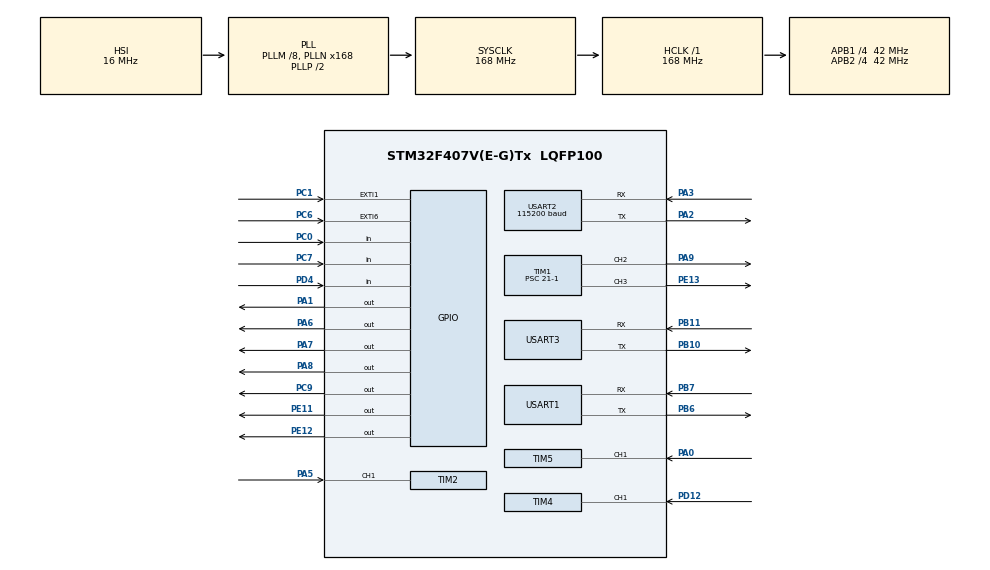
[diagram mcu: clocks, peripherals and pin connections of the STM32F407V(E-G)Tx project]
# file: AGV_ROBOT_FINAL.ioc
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Dma.Request0=USART2_RX
Dma.Request1=USART2_TX
Dma.USART2_RX.0.Direction=DMA_PERIPH_TO_MEMORY
Dma.USART2_RX.0.FIFOMode=DMA_FIFOMODE_DISABLE
Dma.USART2_RX.0.Instance=DMA1_Stream5
Dma.USART2_RX.0.MemDataAlignment=DMA_MDATAALIGN_BYTE
Dma.USART2_RX.0.MemInc=DMA_MINC_ENABLE
Dma.USART2_RX.0.Mode=DMA_CIRCULAR
Dma.USART2_RX.0.PeriphDataAlignment=DMA_PDATAALIGN_BYTE
Dma.USART2_RX.0.PeriphInc=DMA_PINC_DISABLE
Dma.USART2_RX.0.Priority=DMA_PRIORITY_LOW
Dma.USART2_TX.1.Direction=DMA_MEMORY_TO_PERIPH
Dma.USART2_TX.1.FIFOMode=DMA_FIFOMODE_DISABLE
Dma.USART2_TX.1.Instance=DMA1_Stream6
Dma.USART2_TX.1.MemDataAlignment=DMA_MDATAALIGN_BYTE
Dma.USART2_TX.1.MemInc=DMA_MINC_ENABLE
Dma.USART2_TX.1.Mode=DMA_NORMAL
Dma.USART2_TX.1.PeriphDataAlignment=DMA_PDATAALIGN_BYTE
Dma.USART2_TX.1.PeriphInc=DMA_PINC_DISABLE
Dma.USART2_TX.1.Priority=DMA_PRIORITY_LOW
Mcu.Family=STM32F4
Mcu.Name=STM32F407V(E-G)Tx
Mcu.Package=LQFP100
NVIC.DMA1_Stream5_IRQn=true\:0\:0\:false\:false\:true\:false\:true
NVIC.DMA1_Stream6_IRQn=true\:0\:0\:false\:false\:true\:false\:true
NVIC.EXTI1_IRQn=true\:0\:0\:false\:false\:true\:true\:true
NVIC.EXTI9_5_IRQn=true\:1\:0\:true\:false\:true\:true\:true
NVIC.PriorityGroup=NVIC_PRIORITYGROUP_4
NVIC.TIM1_BRK_TIM9_IRQn=true\:0\:0\:false\:false\:true\:true\:true
NVIC.TIM2_IRQn=true\:0\:0\:true\:false\:true\:true\:true
NVIC.TIM3_IRQn=true\:0\:0\:false\:false\:true\:true\:true
NVIC.TIM4_IRQn=true\:0\:0\:false\:false\:true\:true\:true
NVIC.TIM5_IRQn=true\:0\:0\:true\:false\:true\:true\:true
NVIC.USART1_IRQn=true\:0\:0\:false\:false\:true\:true\:true
NVIC.USART2_IRQn=true\:0\:0\:false\:false\:true\:true\:true
NVIC.USART3_IRQn=true\:0\:0\:false\:false\:true\:true\:true
PA0-WKUP.Signal=S_TIM5_CH1
PA1.Signal=GPIO_Output
PA13.Mode=Serial_Wire
PA13.Signal=SYS_JTMS-SWDIO
PA14.Mode=Serial_Wire
PA14.Signal=SYS_JTCK-SWCLK
PA2.Mode=Asynchronous
PA2.Signal=USART2_TX
PA3.Mode=Asynchronous
PA3.Signal=USART2_RX
PA5.Signal=S_TIM2_CH1_ETR
PA6.Signal=GPIO_Output
PA7.Signal=GPIO_Output
PA8.Signal=GPIO_Output
PA9.Signal=S_TIM1_CH2
PB10.Mode=Asynchronous
PB10.Signal=USART3_TX
PB11.Mode=Asynchronous
PB11.Signal=USART3_RX
PB6.Mode=Asynchronous
PB6.Signal=USART1_TX
PB7.Mode=Asynchronous
PB7.Signal=USART1_RX
PC0.GPIO_PuPd=GPIO_PULLUP
PC0.Signal=GPIO_Input
PC1.GPIO_ModeDefaultEXTI=GPIO_MODE_IT_FALLING
PC1.GPIO_PuPd=GPIO_PULLUP
PC1.Signal=GPXTI1
PC6.GPIO_ModeDefaultEXTI=GPIO_MODE_IT_FALLING
PC6.GPIO_PuPd=GPIO_PULLUP
PC6.Signal=GPXTI6
PC7.GPIO_PuPd=GPIO_PULLUP
PC7.Signal=GPIO_Input
PC9.Signal=GPIO_Output
PD12.Signal=S_TIM4_CH1
PD4.GPIO_PuPd=GPIO_PULLUP
PD4.Signal=GPIO_Input
PE11.Signal=GPIO_Output
PE12.Signal=GPIO_Output
PE13.Signal=S_TIM1_CH3
ProjectManager.HeapSize=0x200
ProjectManager.StackSize=0x400
ProjectManager.TargetToolchain=STM32CubeIDE
RCC.48MHZClocksFreq_Value=84000000
RCC.AHBFreq_Value=168000000
RCC.APB1CLKDivider=RCC_HCLK_DIV4
RCC.APB1Freq_Value=42000000
RCC.APB1TimFreq_Value=84000000
RCC.APB2CLKDivider=RCC_HCLK_DIV4
RCC.APB2Freq_Value=42000000
RCC.APB2TimFreq_Value=84000000
RCC.CortexFreq_Value=168000000
RCC.HCLKFreq_Value=168000000
RCC.HSE_VALUE=25000000
RCC.HSI_VALUE=16000000
RCC.LSE_VALUE=32768
RCC.PLLM=8
RCC.PLLN=168
RCC.SYSCLKFreq_VALUE=168000000
RCC.SYSCLKSource=RCC_SYSCLKSOURCE_PLLCLK
RCC.VCOOutputFreq_Value=336000000
SH.S_TIM1_CH2.0=TIM1_CH2,PWM Generation2 CH2
SH.S_TIM1_CH3.0=TIM1_CH3,PWM Generation3 CH3
SH.S_TIM2_CH1_ETR.0=TIM2_CH1,Input_Capture1_from_TI1
SH.S_TIM4_CH1.0=TIM4_CH1,Input_Capture1_from_TI1
SH.S_TIM5_CH1.0=TIM5_CH1,Input_Capture1_from_TI1
TIM1.Channel-PWM\ Generation2\ CH2=TIM_CHANNEL_2
TIM1.Channel-PWM\ Generation3\ CH3=TIM_CHANNEL_3
TIM1.Period=400-1
TIM1.Prescaler=21-1
TIM2.Channel-Input_Capture1_from_TI1=TIM_CHANNEL_1
TIM2.ICPolarity_CH1=TIM_INPUTCHANNELPOLARITY_FALLING
TIM2.Period=4294967295
TIM2.Prescaler=84-1
TIM3.Period=50000-1
TIM3.Prescaler=8400-1
TIM4.Channel-Input_Capture1_from_TI1=TIM_CHANNEL_1
TIM4.ICPolarity_CH1=TIM_INPUTCHANNELPOLARITY_BOTHEDGE
TIM4.Prescaler=84-1
TIM5.Channel-Input_Capture1_from_TI1=TIM_CHANNEL_1
TIM5.ICPolarity_CH1=TIM_INPUTCHANNELPOLARITY_FALLING
TIM5.Prescaler=84-1
TIM6.Prescaler=84-1
TIM9.Period=100-1
TIM9.Prescaler=8400-1
USART1.VirtualMode=VM_ASYNC
USART2.BaudRate=115200
USART2.VirtualMode=VM_ASYNC
USART3.VirtualMode=VM_ASYNC
VP_TIM1_VS_ClockSourceINT.Mode=Internal
VP_TIM2_VS_ClockSourceINT.Mode=Internal
VP_TIM3_VS_ClockSourceINT.Mode=Internal
VP_TIM4_VS_ClockSourceINT.Mode=Internal
VP_TIM5_VS_ClockSourceINT.Mode=Internal
VP_TIM6_VS_ClockSourceINT.Mode=Enable_Timer
VP_TIM9_VS_ClockSourceINT.Mode=Internal
board=custom

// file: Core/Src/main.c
/* USER CODE BEGIN Header */
/**
  ******************************************************************************
  * @file           : main.c
  * @brief          : Main program body
  ******************************************************************************
  * @attention
  *
  * <h2><center>&copy; Copyright (c) 2021 STMicroelectronics.
  * All rights reserved.</center></h2>
  *
  * This software component is licensed by ST under BSD 3-Clause license,
  * the "License"; You may not use this file except in compliance with the
  * License. You may obtain a copy of the License at:
  *                        opensource.org/licenses/BSD-3-Clause
  *
  ******************************************************************************
  */
/* USER CODE END Header */
#include "main.h"

/* USER CODE BEGIN Includes */
#include "mainpp.h"
#include <stdlib.h>
#include <string.h>
#include <stdio.h>
#include "ir.h"

//#define __PID_TURNING__
/* USER CODE END Includes */

TIM_HandleTypeDef htim1;
TIM_HandleTypeDef htim2;
TIM_HandleTypeDef htim3;
TIM_HandleTypeDef htim4;
TIM_HandleTypeDef htim5;
TIM_HandleTypeDef htim6;
TIM_HandleTypeDef htim9;

UART_HandleTypeDef huart1;
UART_HandleTypeDef huart2;
UART_HandleTypeDef huart3;
DMA_HandleTypeDef hdma_usart2_rx;
DMA_HandleTypeDef hdma_usart2_tx;

void SystemClock_Config(void);
static void MX_GPIO_Init(void);
static void MX_DMA_Init(void);
static void MX_USART2_UART_Init(void);
static void MX_TIM1_Init(void);
static void MX_TIM9_Init(void);
static void MX_USART3_UART_Init(void);
static void MX_TIM3_Init(void);
static void MX_TIM4_Init(void);
static void MX_USART1_UART_Init(void);
static void MX_TIM2_Init(void);
static void MX_TIM5_Init(void);
static void MX_TIM6_Init(void);
/* USER CODE BEGIN PFP */
#ifdef __GNUC__

#define PUTCHAR_PROTOTYPE int __io_putchar(int ch)

PUTCHAR_PROTOTYPE
{
    HAL_UART_Transmit(&huart3 ,(uint8_t*)&ch, 1, HAL_MAX_DELAY);
    return ch;
}
#endif
/* USER CODE END PFP */

/* USER CODE BEGIN 0 */
int chuyenChartoInt(char c)
{
		return (int)c-48;
}

void DC1_thuan(int speed)
{
	__HAL_TIM_SET_COMPARE(&htim1,TIM_CHANNEL_2,speed);
	HAL_GPIO_WritePin(GPIOA,GPIO_PIN_6,GPIO_PIN_SET);
	HAL_GPIO_WritePin(GPIOC,GPIO_PIN_9,GPIO_PIN_RESET);
}

void DC1_nghich(int speed)
{
	__HAL_TIM_SET_COMPARE(&htim1,TIM_CHANNEL_2,speed);
	HAL_GPIO_WritePin(GPIOA,GPIO_PIN_6,GPIO_PIN_RESET);
	HAL_GPIO_WritePin(GPIOC,GPIO_PIN_9,GPIO_PIN_SET);
}

void DC2_nghich(int speed)
{
	__HAL_TIM_SET_COMPARE(&htim1,TIM_CHANNEL_3,speed);
	HAL_GPIO_WritePin(GPIOE,GPIO_PIN_11,GPIO_PIN_SET);
	HAL_GPIO_WritePin(GPIOE,GPIO_PIN_12,GPIO_PIN_RESET);
}
void DC2_thuan(int speed)
{
	__HAL_TIM_SET_COMPARE(&htim1,TIM_CHANNEL_3,speed);
	HAL_GPIO_WritePin(GPIOE,GPIO_PIN_11,GPIO_PIN_RESET);
	HAL_GPIO_WritePin(GPIOE,GPIO_PIN_12,GPIO_PIN_SET);
}

void lui()
{
	DC1_nghich(PWM1);
	DC2_nghich(PWM2);
}

void tien()
{
	DC1_thuan(PWM1);
	DC2_thuan(PWM2);
}

void Xoay_Trai(void)
{
	DC1_thuan(PWM1);
	DC2_nghich(PWM2);
}

void Xoay_Phai(void)
{
	DC1_nghich(PWM1);
	DC2_thuan(PWM2);
}

void dung()
{
	PWM1 = 0;
	PWM2 = 0;
	HAL_GPIO_WritePin(GPIOE,GPIO_PIN_11,GPIO_PIN_SET);
	HAL_GPIO_WritePin(GPIOE,GPIO_PIN_12,GPIO_PIN_SET);

	HAL_GPIO_WritePin(GPIOA,GPIO_PIN_6,GPIO_PIN_SET);
	HAL_GPIO_WritePin(GPIOC,GPIO_PIN_9,GPIO_PIN_SET);
}

/* USER CODE END 0 */

int main(void)
{

  /* MCU Configuration--------------------------------------------------------*/

  /* Reset of all peripherals, Initializes the Flash interface and the Systick. */
  HAL_Init();

  /* Configure the system clock */
  SystemClock_Config();

  /* Initialize all configured peripherals */
  MX_GPIO_Init();
  MX_DMA_Init();
  MX_USART2_UART_Init();
  MX_TIM1_Init();
  MX_TIM9_Init();
  MX_USART3_UART_Init();
  MX_TIM3_Init();
  MX_TIM4_Init();
  MX_USART1_UART_Init();
  MX_TIM2_Init();
  MX_TIM5_Init();
  MX_TIM6_Init();
  /* USER CODE BEGIN 2 */

  	//pwm dieu khien dong co
	HAL_TIM_PWM_Start(&htim1,TIM_CHANNEL_2);
	HAL_TIM_PWM_Start(&htim1,TIM_CHANNEL_3);
	//ngat tinh toan pid
	HAL_TIM_Base_Start_IT(&htim9);
	//doc tin hieu ir
	HAL_TIM_IC_Start_IT(&htim2, TIM_CHANNEL_1);
	HAL_TIM_IC_Start_IT(&htim5, TIM_CHANNEL_1);
	//tao delay us
	HAL_TIM_Base_Start(&htim6);
	//reset ir data
	HAL_TIM_Base_Start_IT(&htim3);
	setup();

  /* USER CODE END 2 */

  /* Infinite loop */
  /* USER CODE BEGIN WHILE */
  while (1)
  {
	  check_ir_signal();
	  loop();
    /* USER CODE END WHILE */

  }
}

void SystemClock_Config(void)
{
  RCC_OscInitTypeDef RCC_OscInitStruct = {0};
  RCC_ClkInitTypeDef RCC_ClkInitStruct = {0};

  /** Configure the main internal regulator output voltage
  */
  __HAL_RCC_PWR_CLK_ENABLE();
  __HAL_PWR_VOLTAGESCALING_CONFIG(PWR_REGULATOR_VOLTAGE_SCALE1);
  /** Initializes the RCC Oscillators according to the specified parameters
  * in the RCC_OscInitTypeDef structure.
  */
  RCC_OscInitStruct.OscillatorType = RCC_OSCILLATORTYPE_HSI;
  RCC_OscInitStruct.HSIState = RCC_HSI_ON;
  RCC_OscInitStruct.HSICalibrationValue = RCC_HSICALIBRATION_DEFAULT;
  RCC_OscInitStruct.PLL.PLLState = RCC_PLL_ON;
  RCC_OscInitStruct.PLL.PLLSource = RCC_PLLSOURCE_HSI;
  RCC_OscInitStruct.PLL.PLLM = 8;
  RCC_OscInitStruct.PLL.PLLN = 168;
  RCC_OscInitStruct.PLL.PLLP = RCC_PLLP_DIV2;
  RCC_OscInitStruct.PLL.PLLQ = 4;
  if (HAL_RCC_OscConfig(&RCC_OscInitStruct) != HAL_OK)
  {
    Error_Handler();
  }
  /** Initializes the CPU, AHB and APB buses clocks
  */
  RCC_ClkInitStruct.ClockType = RCC_CLOCKTYPE_HCLK|RCC_CLOCKTYPE_SYSCLK
                              |RCC_CLOCKTYPE_PCLK1|RCC_CLOCKTYPE_PCLK2;
  RCC_ClkInitStruct.SYSCLKSource = RCC_SYSCLKSOURCE_PLLCLK;
  RCC_ClkInitStruct.AHBCLKDivider = RCC_SYSCLK_DIV1;
  RCC_ClkInitStruct.APB1CLKDivider = RCC_HCLK_DIV4;
  RCC_ClkInitStruct.APB2CLKDivider = RCC_HCLK_DIV4;

  if (HAL_RCC_ClockConfig(&RCC_ClkInitStruct, FLASH_LATENCY_5) != HAL_OK)
  {
    Error_Handler();
  }
}

static void MX_TIM1_Init(void)
{

  TIM_ClockConfigTypeDef sClockSourceConfig = {0};
  TIM_MasterConfigTypeDef sMasterConfig = {0};
  TIM_OC_InitTypeDef sConfigOC = {0};
  TIM_BreakDeadTimeConfigTypeDef sBreakDeadTimeConfig = {0};

  htim1.Instance = TIM1;
  htim1.Init.Prescaler = 21-1;
  htim1.Init.CounterMode = TIM_COUNTERMODE_UP;
  htim1.Init.Period = 400-1;
  htim1.Init.ClockDivision = TIM_CLOCKDIVISION_DIV1;
  htim1.Init.RepetitionCounter = 0;
  htim1.Init.AutoReloadPreload = TIM_AUTORELOAD_PRELOAD_DISABLE;
  if (HAL_TIM_Base_Init(&htim1) != HAL_OK)
  {
    Error_Handler();
  }
  sClockSourceConfig.ClockSource = TIM_CLOCKSOURCE_INTERNAL;
  if (HAL_TIM_ConfigClockSource(&htim1, &sClockSourceConfig) != HAL_OK)
  {
    Error_Handler();
  }
  if (HAL_TIM_PWM_Init(&htim1) != HAL_OK)
  {
    Error_Handler();
  }
  sMasterConfig.MasterOutputTrigger = TIM_TRGO_RESET;
  sMasterConfig.MasterSlaveMode = TIM_MASTERSLAVEMODE_DISABLE;
  if (HAL_TIMEx_MasterConfigSynchronization(&htim1, &sMasterConfig) != HAL_OK)
  {
    Error_Handler();
  }
  sConfigOC.OCMode = TIM_OCMODE_PWM1;
  sConfigOC.Pulse = 0;
  sConfigOC.OCPolarity = TIM_OCPOLARITY_HIGH;
  sConfigOC.OCNPolarity = TIM_OCNPOLARITY_HIGH;
  sConfigOC.OCFastMode = TIM_OCFAST_DISABLE;
  sConfigOC.OCIdleState = TIM_OCIDLESTATE_RESET;
  sConfigOC.OCNIdleState = TIM_OCNIDLESTATE_RESET;
  if (HAL_TIM_PWM_ConfigChannel(&htim1, &sConfigOC, TIM_CHANNEL_2) != HAL_OK)
  {
    Error_Handler();
  }
  if (HAL_TIM_PWM_ConfigChannel(&htim1, &sConfigOC, TIM_CHANNEL_3) != HAL_OK)
  {
    Error_Handler();
  }
  sBreakDeadTimeConfig.OffStateRunMode = TIM_OSSR_DISABLE;
  sBreakDeadTimeConfig.OffStateIDLEMode = TIM_OSSI_DISABLE;
  sBreakDeadTimeConfig.LockLevel = TIM_LOCKLEVEL_OFF;
  sBreakDeadTimeConfig.DeadTime = 0;
  sBreakDeadTimeConfig.BreakState = TIM_BREAK_DISABLE;
  sBreakDeadTimeConfig.BreakPolarity = TIM_BREAKPOLARITY_HIGH;
  sBreakDeadTimeConfig.AutomaticOutput = TIM_AUTOMATICOUTPUT_DISABLE;
  if (HAL_TIMEx_ConfigBreakDeadTime(&htim1, &sBreakDeadTimeConfig) != HAL_OK)
  {
    Error_Handler();
  }
  HAL_TIM_MspPostInit(&htim1);

}

static void MX_TIM2_Init(void)
{

  TIM_ClockConfigTypeDef sClockSourceConfig = {0};
  TIM_MasterConfigTypeDef sMasterConfig = {0};
  TIM_IC_InitTypeDef sConfigIC = {0};

  htim2.Instance = TIM2;
  htim2.Init.Prescaler = 84-1;
  htim2.Init.CounterMode = TIM_COUNTERMODE_UP;
  htim2.Init.Period = 4294967295;
  htim2.Init.ClockDivision = TIM_CLOCKDIVISION_DIV1;
  htim2.Init.AutoReloadPreload = TIM_AUTORELOAD_PRELOAD_DISABLE;
  if (HAL_TIM_Base_Init(&htim2) != HAL_OK)
  {
    Error_Handler();
  }
  sClockSourceConfig.ClockSource = TIM_CLOCKSOURCE_INTERNAL;
  if (HAL_TIM_ConfigClockSource(&htim2, &sClockSourceConfig) != HAL_OK)
  {
    Error_Handler();
  }
  if (HAL_TIM_IC_Init(&htim2) != HAL_OK)
  {
    Error_Handler();
  }
  sMasterConfig.MasterOutputTrigger = TIM_TRGO_RESET;
  sMasterConfig.MasterSlaveMode = TIM_MASTERSLAVEMODE_DISABLE;
  if (HAL_TIMEx_MasterConfigSynchronization(&htim2, &sMasterConfig) != HAL_OK)
  {
    Error_Handler();
  }
  sConfigIC.ICPolarity = TIM_INPUTCHANNELPOLARITY_FALLING;
  sConfigIC.ICSelection = TIM_ICSELECTION_DIRECTTI;
  sConfigIC.ICPrescaler = TIM_ICPSC_DIV1;
  sConfigIC.ICFilter = 0;
  if (HAL_TIM_IC_ConfigChannel(&htim2, &sConfigIC, TIM_CHANNEL_1) != HAL_OK)
  {
    Error_Handler();
  }

}

static void MX_TIM3_Init(void)
{

  TIM_ClockConfigTypeDef sClockSourceConfig = {0};
  TIM_MasterConfigTypeDef sMasterConfig = {0};

  htim3.Instance = TIM3;
  htim3.Init.Prescaler = 8400-1;
  htim3.Init.CounterMode = TIM_COUNTERMODE_UP;
  htim3.Init.Period = 30000-1;
  htim3.Init.ClockDivision = TIM_CLOCKDIVISION_DIV1;
  htim3.Init.AutoReloadPreload = TIM_AUTORELOAD_PRELOAD_DISABLE;
  if (HAL_TIM_Base_Init(&htim3) != HAL_OK)
  {
    Error_Handler();
  }
  sClockSourceConfig.ClockSource = TIM_CLOCKSOURCE_INTERNAL;
  if (HAL_TIM_ConfigClockSource(&htim3, &sClockSourceConfig) != HAL_OK)
  {
    Error_Handler();
  }
  sMasterConfig.MasterOutputTrigger = TIM_TRGO_RESET;
  sMasterConfig.MasterSlaveMode = TIM_MASTERSLAVEMODE_DISABLE;
  if (HAL_TIMEx_MasterConfigSynchronization(&htim3, &sMasterConfig) != HAL_OK)
  {
    Error_Handler();
  }

}

static void MX_TIM4_Init(void)
{

  TIM_ClockConfigTypeDef sClockSourceConfig = {0};
  TIM_MasterConfigTypeDef sMasterConfig = {0};
  TIM_IC_InitTypeDef sConfigIC = {0};

  htim4.Instance = TIM4;
  htim4.Init.Prescaler = 84-1;
  htim4.Init.CounterMode = TIM_COUNTERMODE_UP;
  htim4.Init.Period = 65535;
  htim4.Init.ClockDivision = TIM_CLOCKDIVISION_DIV1;
  htim4.Init.AutoReloadPreload = TIM_AUTORELOAD_PRELOAD_DISABLE;
  if (HAL_TIM_Base_Init(&htim4) != HAL_OK)
  {
    Error_Handler();
  }
  sClockSourceConfig.ClockSource = TIM_CLOCKSOURCE_INTERNAL;
  if (HAL_TIM_ConfigClockSource(&htim4, &sClockSourceConfig) != HAL_OK)
  {
    Error_Handler();
  }
  if (HAL_TIM_IC_Init(&htim4) != HAL_OK)
  {
    Error_Handler();
  }
  sMasterConfig.MasterOutputTrigger = TIM_TRGO_RESET;
  sMasterConfig.MasterSlaveMode = TIM_MASTERSLAVEMODE_DISABLE;
  if (HAL_TIMEx_MasterConfigSynchronization(&htim4, &sMasterConfig) != HAL_OK)
  {
    Error_Handler();
  }
  sConfigIC.ICPolarity = TIM_INPUTCHANNELPOLARITY_BOTHEDGE;
  sConfigIC.ICSelection = TIM_ICSELECTION_DIRECTTI;
  sConfigIC.ICPrescaler = TIM_ICPSC_DIV1;
  sConfigIC.ICFilter = 0;
  if (HAL_TIM_IC_ConfigChannel(&htim4, &sConfigIC, TIM_CHANNEL_1) != HAL_OK)
  {
    Error_Handler();
  }

}

static void MX_TIM5_Init(void)
{

  TIM_ClockConfigTypeDef sClockSourceConfig = {0};
  TIM_MasterConfigTypeDef sMasterConfig = {0};
  TIM_IC_InitTypeDef sConfigIC = {0};

  htim5.Instance = TIM5;
  htim5.Init.Prescaler = 84-1;
  htim5.Init.CounterMode = TIM_COUNTERMODE_UP;
  htim5.Init.Period = 4294967295;
  htim5.Init.ClockDivision = TIM_CLOCKDIVISION_DIV1;
  htim5.Init.AutoReloadPreload = TIM_AUTORELOAD_PRELOAD_DISABLE;
  if (HAL_TIM_Base_Init(&htim5) != HAL_OK)
  {
    Error_Handler();
  }
  sClockSourceConfig.ClockSource = TIM_CLOCKSOURCE_INTERNAL;
  if (HAL_TIM_ConfigClockSource(&htim5, &sClockSourceConfig) != HAL_OK)
  {
    Error_Handler();
  }
  if (HAL_TIM_IC_Init(&htim5) != HAL_OK)
  {
    Error_Handler();
  }
  sMasterConfig.MasterOutputTrigger = TIM_TRGO_RESET;
  sMasterConfig.MasterSlaveMode = TIM_MASTERSLAVEMODE_DISABLE;
  if (HAL_TIMEx_MasterConfigSynchronization(&htim5, &sMasterConfig) != HAL_OK)
  {
    Error_Handler();
  }
  sConfigIC.ICPolarity = TIM_INPUTCHANNELPOLARITY_FALLING;
  sConfigIC.ICSelection = TIM_ICSELECTION_DIRECTTI;
  sConfigIC.ICPrescaler = TIM_ICPSC_DIV1;
  sConfigIC.ICFilter = 0;
  if (HAL_TIM_IC_ConfigChannel(&htim5, &sConfigIC, TIM_CHANNEL_1) != HAL_OK)
  {
    Error_Handler();
  }

}

static void MX_TIM6_Init(void)
{

  TIM_MasterConfigTypeDef sMasterConfig = {0};

  htim6.Instance = TIM6;
  htim6.Init.Prescaler = 84-1;
  htim6.Init.CounterMode = TIM_COUNTERMODE_UP;
  htim6.Init.Period = 65535;
  htim6.Init.AutoReloadPreload = TIM_AUTORELOAD_PRELOAD_DISABLE;
  if (HAL_TIM_Base_Init(&htim6) != HAL_OK)
  {
    Error_Handler();
  }
  sMasterConfig.MasterOutputTrigger = TIM_TRGO_RESET;
  sMasterConfig.MasterSlaveMode = TIM_MASTERSLAVEMODE_DISABLE;
  if (HAL_TIMEx_MasterConfigSynchronization(&htim6, &sMasterConfig) != HAL_OK)
  {
    Error_Handler();
  }

}

static void MX_TIM9_Init(void)
{

  TIM_ClockConfigTypeDef sClockSourceConfig = {0};

  htim9.Instance = TIM9;
  htim9.Init.Prescaler = 8400-1;
  htim9.Init.CounterMode = TIM_COUNTERMODE_UP;
  htim9.Init.Period = 100-1;
  htim9.Init.ClockDivision = TIM_CLOCKDIVISION_DIV1;
  htim9.Init.AutoReloadPreload = TIM_AUTORELOAD_PRELOAD_DISABLE;
  if (HAL_TIM_Base_Init(&htim9) != HAL_OK)
  {
    Error_Handler();
  }
  sClockSourceConfig.ClockSource = TIM_CLOCKSOURCE_INTERNAL;
  if (HAL_TIM_ConfigClockSource(&htim9, &sClockSourceConfig) != HAL_OK)
  {
    Error_Handler();
  }

}

static void MX_USART1_UART_Init(void)
{

  huart1.Instance = USART1;
  huart1.Init.BaudRate = 115200;
  huart1.Init.WordLength = UART_WORDLENGTH_8B;
  huart1.Init.StopBits = UART_STOPBITS_1;
  huart1.Init.Parity = UART_PARITY_NONE;
  huart1.Init.Mode = UART_MODE_TX_RX;
  huart1.Init.HwFlowCtl = UART_HWCONTROL_NONE;
  huart1.Init.OverSampling = UART_OVERSAMPLING_16;
  if (HAL_UART_Init(&huart1) != HAL_OK)
  {
    Error_Handler();
  }

}

static void MX_USART2_UART_Init(void)
{

  huart2.Instance = USART2;
  huart2.Init.BaudRate = 115200;
  huart2.Init.WordLength = UART_WORDLENGTH_8B;
  huart2.Init.StopBits = UART_STOPBITS_1;
  huart2.Init.Parity = UART_PARITY_NONE;
  huart2.Init.Mode = UART_MODE_TX_RX;
  huart2.Init.HwFlowCtl = UART_HWCONTROL_NONE;
  huart2.Init.OverSampling = UART_OVERSAMPLING_16;
  if (HAL_UART_Init(&huart2) != HAL_OK)
  {
    Error_Handler();
  }

}

static void MX_USART3_UART_Init(void)
{

  huart3.Instance = USART3;
  huart3.Init.BaudRate = 115200;
  huart3.Init.WordLength = UART_WORDLENGTH_8B;
  huart3.Init.StopBits = UART_STOPBITS_1;
  huart3.Init.Parity = UART_PARITY_NONE;
  huart3.Init.Mode = UART_MODE_TX_RX;
  huart3.Init.HwFlowCtl = UART_HWCONTROL_NONE;
  huart3.Init.OverSampling = UART_OVERSAMPLING_16;
  if (HAL_UART_Init(&huart3) != HAL_OK)
  {
    Error_Handler();
  }

}

static void MX_DMA_Init(void)
{

  /* DMA controller clock enable */
  __HAL_RCC_DMA1_CLK_ENABLE();

  /* DMA interrupt init */
  /* DMA1_Stream5_IRQn interrupt configuration */
  HAL_NVIC_SetPriority(DMA1_Stream5_IRQn, 0, 0);
  HAL_NVIC_EnableIRQ(DMA1_Stream5_IRQn);
  /* DMA1_Stream6_IRQn interrupt configuration */
  HAL_NVIC_SetPriority(DMA1_Stream6_IRQn, 0, 0);
  HAL_NVIC_EnableIRQ(DMA1_Stream6_IRQn);

}

static void MX_GPIO_Init(void)
{
  GPIO_InitTypeDef GPIO_InitStruct = {0};

  /* GPIO Ports Clock Enable */
  __HAL_RCC_GPIOC_CLK_ENABLE();
  __HAL_RCC_GPIOA_CLK_ENABLE();
  __HAL_RCC_GPIOE_CLK_ENABLE();
  __HAL_RCC_GPIOB_CLK_ENABLE();
  __HAL_RCC_GPIOD_CLK_ENABLE();

  /*Configure GPIO pin Output Level */
  HAL_GPIO_WritePin(GPIOA, GPIO_PIN_1|GPIO_PIN_6|GPIO_PIN_7|GPIO_PIN_8, GPIO_PIN_RESET);

  /*Configure GPIO pin Output Level */
  HAL_GPIO_WritePin(GPIOE, GPIO_PIN_11|GPIO_PIN_12, GPIO_PIN_RESET);

  /*Configure GPIO pin Output Level */
  HAL_GPIO_WritePin(GPIOC, GPIO_PIN_9, GPIO_PIN_RESET);

  /*Configure GPIO pins : PC0 PC7 */
  GPIO_InitStruct.Pin = GPIO_PIN_0|GPIO_PIN_7;
  GPIO_InitStruct.Mode = GPIO_MODE_INPUT;
  GPIO_InitStruct.Pull = GPIO_PULLUP;
  HAL_GPIO_Init(GPIOC, &GPIO_InitStruct);

  /*Configure GPIO pins : PC1 PC6 */
  GPIO_InitStruct.Pin = GPIO_PIN_1|GPIO_PIN_6;
  GPIO_InitStruct.Mode = GPIO_MODE_IT_FALLING;
  GPIO_InitStruct.Pull = GPIO_PULLUP;
  HAL_GPIO_Init(GPIOC, &GPIO_InitStruct);

  /*Configure GPIO pins : PA1 PA6 PA7 PA8 */
  GPIO_InitStruct.Pin = GPIO_PIN_1|GPIO_PIN_6|GPIO_PIN_7|GPIO_PIN_8;
  GPIO_InitStruct.Mode = GPIO_MODE_OUTPUT_PP;
  GPIO_InitStruct.Pull = GPIO_NOPULL;
  GPIO_InitStruct.Speed = GPIO_SPEED_FREQ_LOW;
  HAL_GPIO_Init(GPIOA, &GPIO_InitStruct);

  /*Configure GPIO pins : PE11 PE12 */
  GPIO_InitStruct.Pin = GPIO_PIN_11|GPIO_PIN_12;
  GPIO_InitStruct.Mode = GPIO_MODE_OUTPUT_PP;
  GPIO_InitStruct.Pull = GPIO_NOPULL;
  GPIO_InitStruct.Speed = GPIO_SPEED_FREQ_LOW;
  HAL_GPIO_Init(GPIOE, &GPIO_InitStruct);

  /*Configure GPIO pin : PC9 */
  GPIO_InitStruct.Pin = GPIO_PIN_9;
  GPIO_InitStruct.Mode = GPIO_MODE_OUTPUT_PP;
  GPIO_InitStruct.Pull = GPIO_NOPULL;
  GPIO_InitStruct.Speed = GPIO_SPEED_FREQ_LOW;
  HAL_GPIO_Init(GPIOC, &GPIO_InitStruct);

  /*Configure GPIO pin : PD4 */
  GPIO_InitStruct.Pin = GPIO_PIN_4;
  GPIO_InitStruct.Mode = GPIO_MODE_INPUT;
  GPIO_InitStruct.Pull = GPIO_PULLUP;
  HAL_GPIO_Init(GPIOD, &GPIO_InitStruct);

  /* EXTI interrupt init*/
  HAL_NVIC_SetPriority(EXTI1_IRQn, 0, 0);
  HAL_NVIC_EnableIRQ(EXTI1_IRQn);

  HAL_NVIC_SetPriority(EXTI9_5_IRQn, 1, 0);
  HAL_NVIC_EnableIRQ(EXTI9_5_IRQn);

}

void Error_Handler(void)
{
  __disable_irq();
  while (1)
  {
  }
}

/************************ (C) COPYRIGHT STMicroelectronics *****END OF FILE****/
